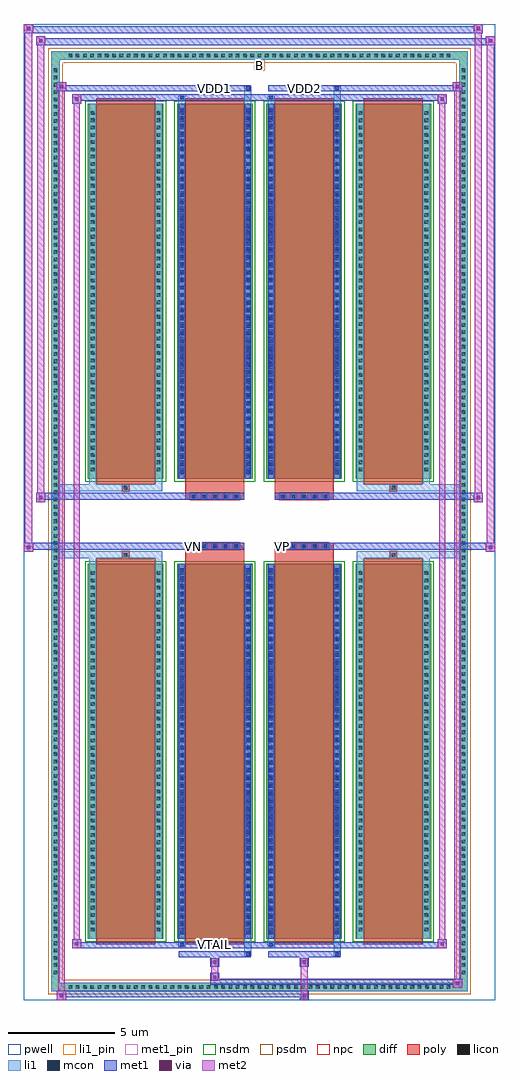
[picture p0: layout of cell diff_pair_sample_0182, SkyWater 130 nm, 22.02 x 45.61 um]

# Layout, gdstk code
import gdstk
lib = gdstk.Library(unit=1e-6, precision=5e-09)
def R(c, l, rs):  # rectangles x0, y0, x1, y1
    for r in rs: c.add(gdstk.rectangle(r[:2], r[2:], *l))
def A(c, l, x, y, w, h, nx, ny, dx, dy):  # array of equal rectangles
    R(c, l, [(x+i*dx, y+j*dy, x+i*dx+w, y+j*dy+h) for i in range(nx) for j in range(ny)])
def P(c, l, *ps):  # polygons
    for p in ps: c.add(gdstk.Polygon(p, *l))
pwell = (64, 44)
diff = (65, 20)
poly = (66, 20)
licon = (66, 44)
li1_pin = (67, 16)
li1 = (67, 20)
mcon = (67, 44)
met1_pin = (68, 16)
met1 = (68, 20)
via = (68, 44)
met2 = (69, 20)
nsdm = (93, 44)
psdm = (94, 20)
npc = (95, 20)

diff_pair_sample_0182 = lib.new_cell('diff_pair_sample_0182')
R(diff_pair_sample_0182, pwell, [(-11.01,-22.37,11.01,23.24), (-8.33,-20.56,-0.01,-0.8), (0.01,-20.56,8.33,-0.8), (-8.33,0.8,-0.01,20.56), (0.01,0.8,8.33,20.56)])
A(diff_pair_sample_0182, diff, -9.045, -21.97, 0.41, 0.41, 53, 2, 0.34, 43.53)
A(diff_pair_sample_0182, diff, -9.74, -21.285, 0.41, 0.41, 1, 125, 0, 0.34)
A(diff_pair_sample_0182, diff, 9.33, -21.285, 0.41, 0.41, 1, 125, 0, 0.34)
A(diff_pair_sample_0182, diff, -8.02, -19.515, 3.53, 17.53, 4, 2, 4.17, 21.5)
R(diff_pair_sample_0182, diff, [(-9.045,-21.97,9.045,-21.56), (-9.74,-21.285,-9.33,21.285), (9.33,-21.285,9.74,21.285), (-9.045,21.56,9.045,21.97)])
P(diff_pair_sample_0182, diff, [(9.74,21.97),(-9.74,21.97),(-9.74,-21.56),(-9.33,-21.56),(-9.33,21.56),(9.33,21.56),(9.33,-21.56),(-9.33,-21.56),(-9.74,-21.56),(-9.74,-21.97),(9.74,-21.97)])
A(diff_pair_sample_0182, poly, -7.63, -19.765, 2.75, 18.03, 4, 2, 4.17, 21.5)
A(diff_pair_sample_0182, poly, -3.25, -1.33, 0.33, 0.33, 5, 2, 0.5, 2.33)
A(diff_pair_sample_0182, poly, 0.92, -1.33, 0.33, 0.33, 5, 2, 0.5, 2.33)
R(diff_pair_sample_0182, poly, [(-6.42,-1.735,-6.09,-1.405), (-6.42,-1.735,-6.09,-1.405), (-3.46,-1.735,-0.71,-1.33), (0.71,-1.735,3.46,-1.33), (6.09,-1.735,6.42,-1.405), (6.09,-1.735,6.42,-1.405), (-3.46,-1.33,-0.71,-1), (0.71,-1.33,3.46,-1), (-3.46,1,-0.71,1.33), (0.71,1,3.46,1.33), (-3.46,1.33,-0.71,1.735), (0.71,1.33,3.46,1.735), (-6.42,1.405,-6.09,1.735), (-6.42,1.405,-6.09,1.735), (6.09,1.405,6.42,1.735), (6.09,1.405,6.42,1.735)])
A(diff_pair_sample_0182, licon, -8.925, -21.85, 0.17, 0.17, 53, 2, 0.34, 43.53)
A(diff_pair_sample_0182, licon, -9.62, -21.165, 0.17, 0.17, 1, 125, 0, 0.34)
A(diff_pair_sample_0182, licon, 9.45, -21.165, 0.17, 0.17, 1, 125, 0, 0.34)
A(diff_pair_sample_0182, licon, -7.88, -19.165, 0.17, 0.17, 1, 50, 0, 0.34)
A(diff_pair_sample_0182, licon, -4.8, -19.165, 0.17, 0.17, 1, 50, 0, 0.34)
A(diff_pair_sample_0182, licon, -3.71, -19.165, 0.17, 0.17, 1, 50, 0, 0.34)
A(diff_pair_sample_0182, licon, -0.63, -19.165, 0.17, 0.17, 1, 50, 0, 0.34)
A(diff_pair_sample_0182, licon, 0.46, -19.165, 0.17, 0.17, 1, 50, 0, 0.34)
A(diff_pair_sample_0182, licon, 3.54, -19.165, 0.17, 0.17, 1, 50, 0, 0.34)
A(diff_pair_sample_0182, licon, 4.63, -19.165, 0.17, 0.17, 1, 50, 0, 0.34)
A(diff_pair_sample_0182, licon, 7.71, -19.165, 0.17, 0.17, 1, 50, 0, 0.34)
A(diff_pair_sample_0182, licon, -3.17, -1.25, 0.17, 0.17, 5, 2, 0.5, 2.33)
A(diff_pair_sample_0182, licon, 1, -1.25, 0.17, 0.17, 5, 2, 0.5, 2.33)
A(diff_pair_sample_0182, licon, -7.88, 2.335, 0.17, 0.17, 1, 50, 0, 0.34)
A(diff_pair_sample_0182, licon, -4.8, 2.335, 0.17, 0.17, 1, 50, 0, 0.34)
A(diff_pair_sample_0182, licon, -3.71, 2.335, 0.17, 0.17, 1, 50, 0, 0.34)
A(diff_pair_sample_0182, licon, -0.63, 2.335, 0.17, 0.17, 1, 50, 0, 0.34)
A(diff_pair_sample_0182, licon, 0.46, 2.335, 0.17, 0.17, 1, 50, 0, 0.34)
A(diff_pair_sample_0182, licon, 3.54, 2.335, 0.17, 0.17, 1, 50, 0, 0.34)
A(diff_pair_sample_0182, licon, 4.63, 2.335, 0.17, 0.17, 1, 50, 0, 0.34)
A(diff_pair_sample_0182, licon, 7.71, 2.335, 0.17, 0.17, 1, 50, 0, 0.34)
R(diff_pair_sample_0182, licon, [(-6.34,-1.655,-6.17,-1.485), (6.17,-1.655,6.34,-1.485), (-6.34,1.485,-6.17,1.655), (6.17,1.485,6.34,1.655)])
R(diff_pair_sample_0182, li1_pin, [(-0.25,21.06,0.25,21.56)])
A(diff_pair_sample_0182, li1, -9.005, -21.93, 0.33, 0.33, 53, 2, 0.34, 43.53)
A(diff_pair_sample_0182, li1, -9.7, -21.245, 0.33, 0.33, 1, 125, 0, 0.34)
A(diff_pair_sample_0182, li1, 9.37, -21.245, 0.33, 0.33, 1, 125, 0, 0.34)
A(diff_pair_sample_0182, li1, -3.71, -19.295, 0.17, 0.17, 1, 48, 0, 0.36)
A(diff_pair_sample_0182, li1, -0.63, -19.295, 0.17, 0.17, 1, 48, 0, 0.36)
A(diff_pair_sample_0182, li1, 0.46, -19.295, 0.17, 0.17, 1, 48, 0, 0.36)
A(diff_pair_sample_0182, li1, 3.54, -19.295, 0.17, 0.17, 1, 48, 0, 0.36)
A(diff_pair_sample_0182, li1, -7.96, -19.245, 0.33, 0.33, 1, 50, 0, 0.34)
A(diff_pair_sample_0182, li1, -4.88, -19.245, 0.33, 0.33, 1, 50, 0, 0.34)
A(diff_pair_sample_0182, li1, -3.79, -19.245, 0.33, 0.33, 1, 50, 0, 0.34)
A(diff_pair_sample_0182, li1, -0.71, -19.245, 0.33, 0.33, 1, 50, 0, 0.34)
A(diff_pair_sample_0182, li1, 0.38, -19.245, 0.33, 0.33, 1, 50, 0, 0.34)
A(diff_pair_sample_0182, li1, 3.46, -19.245, 0.33, 0.33, 1, 50, 0, 0.34)
A(diff_pair_sample_0182, li1, 4.55, -19.245, 0.33, 0.33, 1, 50, 0, 0.34)
A(diff_pair_sample_0182, li1, 7.63, -19.245, 0.33, 0.33, 1, 50, 0, 0.34)
A(diff_pair_sample_0182, li1, -3.25, -1.33, 0.33, 0.33, 5, 2, 0.5, 2.33)
A(diff_pair_sample_0182, li1, 0.92, -1.33, 0.33, 0.33, 5, 2, 0.5, 2.33)
A(diff_pair_sample_0182, li1, -3.71, 2.205, 0.17, 0.17, 1, 48, 0, 0.36)
A(diff_pair_sample_0182, li1, -0.63, 2.205, 0.17, 0.17, 1, 48, 0, 0.36)
A(diff_pair_sample_0182, li1, 0.46, 2.205, 0.17, 0.17, 1, 48, 0, 0.36)
A(diff_pair_sample_0182, li1, 3.54, 2.205, 0.17, 0.17, 1, 48, 0, 0.36)
A(diff_pair_sample_0182, li1, -7.96, 2.255, 0.33, 0.33, 1, 50, 0, 0.34)
A(diff_pair_sample_0182, li1, -4.88, 2.255, 0.33, 0.33, 1, 50, 0, 0.34)
A(diff_pair_sample_0182, li1, -3.79, 2.255, 0.33, 0.33, 1, 50, 0, 0.34)
A(diff_pair_sample_0182, li1, -0.71, 2.255, 0.33, 0.33, 1, 50, 0, 0.34)
A(diff_pair_sample_0182, li1, 0.38, 2.255, 0.33, 0.33, 1, 50, 0, 0.34)
A(diff_pair_sample_0182, li1, 3.46, 2.255, 0.33, 0.33, 1, 50, 0, 0.34)
A(diff_pair_sample_0182, li1, 4.55, 2.255, 0.33, 0.33, 1, 50, 0, 0.34)
A(diff_pair_sample_0182, li1, 7.63, 2.255, 0.33, 0.33, 1, 50, 0, 0.34)
R(diff_pair_sample_0182, li1, [(-9.74,-21.97,-9.33,-21.56), (-9.74,-21.97,-9.33,-21.56), (-9.33,-21.97,9.33,-21.56), (9.33,-21.97,9.74,-21.56), (9.33,-21.97,9.74,-21.56), (-9.74,-21.56,-9.33,21.56), (9.33,-21.56,9.74,21.56), (-0.71,-20.32,-0.38,-19.515), (-0.63,-20.32,-0.46,-20.15), (3.46,-20.32,3.79,-19.515), (3.54,-20.32,3.71,-20.15), (-3.79,-19.89,-3.46,-19.515), (-3.71,-19.89,-3.54,-19.72), (0.38,-19.89,0.71,-19.515), (0.46,-19.89,0.63,-19.72), (-7.96,-19.515,-7.63,-1.985), (-4.88,-19.515,-4.55,-1.985), (-3.79,-19.515,-3.46,-1.985), (-0.71,-19.515,-0.38,-1.985), (0.38,-19.515,0.71,-1.985), (3.46,-19.515,3.79,-1.985), (4.55,-19.515,4.88,-1.985), (7.63,-19.515,7.96,-1.985), (-3.71,-19.295,-3.54,-2.205), (-0.63,-19.295,-0.46,-2.205), (0.46,-19.295,0.63,-2.205), (3.54,-19.295,3.71,-2.205), (-7.96,-1.985,-7.63,-1.405), (-4.88,-1.985,-4.55,-1.405), (4.55,-1.985,4.88,-1.405), (7.63,-1.985,7.96,-1.405), (-9.74,-1.735,-6.42,-1.405), (-7.96,-1.735,-6.42,-1.405), (-6.42,-1.735,-6.09,-1.405), (-6.09,-1.735,-4.55,-1.405), (4.55,-1.735,6.09,-1.405), (6.09,-1.735,6.42,-1.405), (6.09,-1.735,9.74,-1.405), (6.42,-1.735,7.96,-1.405), (-9.74,1.405,-6.42,1.735), (-7.96,1.405,-6.42,1.735), (-7.96,1.405,-7.63,1.985), (-6.42,1.405,-6.09,1.735), (-6.09,1.405,-4.55,1.735), (-4.88,1.405,-4.55,1.985), (4.55,1.405,6.09,1.735), (4.55,1.405,4.88,1.985), (6.09,1.405,6.42,1.735), (6.09,1.405,9.74,1.735), (6.42,1.405,7.96,1.735), (7.63,1.405,7.96,1.985), (-7.96,1.985,-7.63,19.515), (-4.88,1.985,-4.55,19.515), (-3.79,1.985,-3.46,19.515), (-0.71,1.985,-0.38,19.515), (0.38,1.985,0.71,19.515), (3.46,1.985,3.79,19.515), (4.55,1.985,4.88,19.515), (7.63,1.985,7.96,19.515), (-3.71,2.205,-3.54,19.295), (-0.63,2.205,-0.46,19.295), (0.46,2.205,0.63,19.295), (3.54,2.205,3.71,19.295), (-3.79,19.515,-3.46,19.89), (-0.71,19.515,-0.38,20.32), (0.38,19.515,0.71,19.89), (3.46,19.515,3.79,20.32), (-3.71,19.72,-3.54,19.89), (0.46,19.72,0.63,19.89), (-0.63,20.15,-0.46,20.32), (3.54,20.15,3.71,20.32), (-9.74,21.56,-9.33,21.97), (-9.74,21.56,-9.33,21.97), (-9.33,21.56,9.33,21.97), (9.33,21.56,9.74,21.97), (9.33,21.56,9.74,21.97)])
A(diff_pair_sample_0182, mcon, -3.71, -19.295, 0.17, 0.17, 1, 48, 0, 0.36)
A(diff_pair_sample_0182, mcon, -0.63, -19.295, 0.17, 0.17, 1, 48, 0, 0.36)
A(diff_pair_sample_0182, mcon, 0.46, -19.295, 0.17, 0.17, 1, 48, 0, 0.36)
A(diff_pair_sample_0182, mcon, 3.54, -19.295, 0.17, 0.17, 1, 48, 0, 0.36)
A(diff_pair_sample_0182, mcon, -3.17, -1.25, 0.17, 0.17, 5, 2, 0.5, 2.33)
A(diff_pair_sample_0182, mcon, 1, -1.25, 0.17, 0.17, 5, 2, 0.5, 2.33)
A(diff_pair_sample_0182, mcon, -3.71, 2.205, 0.17, 0.17, 1, 48, 0, 0.36)
A(diff_pair_sample_0182, mcon, -0.63, 2.205, 0.17, 0.17, 1, 48, 0, 0.36)
A(diff_pair_sample_0182, mcon, 0.46, 2.205, 0.17, 0.17, 1, 48, 0, 0.36)
A(diff_pair_sample_0182, mcon, 3.54, 2.205, 0.17, 0.17, 1, 48, 0, 0.36)
R(diff_pair_sample_0182, mcon, [(-0.63,-20.32,-0.46,-20.15), (3.54,-20.32,3.71,-20.15), (-3.71,-19.89,-3.54,-19.72), (0.46,-19.89,0.63,-19.72), (-3.71,19.72,-3.54,19.89), (0.46,19.72,0.63,19.89), (-0.63,20.15,-0.46,20.32), (3.54,20.15,3.71,20.32)])
R(diff_pair_sample_0182, met1_pin, [(-2.22,-19.93,-1.95,-19.66), (-3.22,-1.29,-2.95,-1.02), (0.95,-1.29,1.22,-1.02), (-2.22,20.11,-1.95,20.38), (1.95,20.11,2.22,20.38)])
A(diff_pair_sample_0182, met1, -3.77, -19.355, 0.29, 0.29, 1, 48, 0, 0.36)
A(diff_pair_sample_0182, met1, -0.69, -19.355, 0.29, 0.29, 1, 48, 0, 0.36)
A(diff_pair_sample_0182, met1, 0.4, -19.355, 0.29, 0.29, 1, 48, 0, 0.36)
A(diff_pair_sample_0182, met1, 3.48, -19.355, 0.29, 0.29, 1, 48, 0, 0.36)
A(diff_pair_sample_0182, met1, -3.23, -1.31, 0.29, 0.29, 5, 2, 0.5, 2.33)
A(diff_pair_sample_0182, met1, 0.94, -1.31, 0.29, 0.29, 5, 2, 0.5, 2.33)
A(diff_pair_sample_0182, met1, -3.77, 2.145, 0.29, 0.29, 1, 48, 0, 0.36)
A(diff_pair_sample_0182, met1, -0.69, 2.145, 0.29, 0.29, 1, 48, 0, 0.36)
A(diff_pair_sample_0182, met1, 0.4, 2.145, 0.29, 0.29, 1, 48, 0, 0.36)
A(diff_pair_sample_0182, met1, 3.48, 2.145, 0.29, 0.29, 1, 48, 0, 0.36)
R(diff_pair_sample_0182, met1, [(-9.47,-22.37,-9.04,-21.94), (1.87,-22.37,2.3,-21.94), (-9.47,-22.23,2.3,-21.94), (9.04,-21.8,9.47,-21.37), (-2.3,-21.66,9.47,-21.37), (-2.3,-21.52,-1.87,-21.09), (-2.3,-20.81,-1.87,-20.38), (1.87,-20.81,2.3,-20.38), (-3.77,-20.38,-0.4,-20.09), (-0.69,-20.38,-0.4,-20.09), (0.4,-20.38,3.77,-20.09), (3.48,-20.38,3.77,-20.09), (-8.76,-19.95,-8.33,-19.52), (-8.76,-19.95,-3.77,-19.66), (-3.77,-19.95,-3.48,-19.66), (-3.77,-19.95,-0.4,-19.66), (-0.4,-19.95,0.4,-19.66), (0.4,-19.95,0.69,-19.66), (0.4,-19.95,3.77,-19.66), (3.77,-19.95,8.76,-19.66), (8.33,-19.95,8.76,-19.52), (-3.77,-19.515,-3.48,-1.985), (-0.69,-19.515,-0.4,-1.985), (0.4,-19.515,0.69,-1.985), (3.48,-19.515,3.77,-1.985), (-11.01,-1.43,-10.58,-1), (10.58,-1.43,11.01,-1), (-11.01,-1.33,-0.71,-1), (-3.46,-1.33,-0.71,-1), (0.71,-1.33,3.46,-1), (0.71,-1.33,11.01,-1), (-10.44,0.9,-10.01,1.33), (10.01,0.9,10.44,1.33), (-10.44,1,-3.46,1.33), (-3.46,1,-0.71,1.33), (0.71,1,3.46,1.33), (3.46,1,10.44,1.33), (-3.77,1.985,-3.48,19.515), (-0.69,1.985,-0.4,19.515), (0.4,1.985,0.69,19.515), (3.48,1.985,3.77,19.515), (-8.76,19.52,-8.33,19.95), (8.33,19.52,8.76,19.95), (-8.76,19.66,-3.77,19.95), (-3.77,19.66,-3.48,19.95), (-3.77,19.66,-0.4,19.95), (-0.4,19.66,0.4,19.95), (0.4,19.66,0.69,19.95), (0.4,19.66,3.77,19.95), (3.77,19.66,8.76,19.95), (-9.47,20.09,-9.04,20.52), (-9.47,20.09,-3.77,20.38), (-3.77,20.09,-0.4,20.38), (-0.69,20.09,-0.4,20.38), (0.4,20.09,3.77,20.38), (3.48,20.09,3.77,20.38), (3.77,20.09,9.47,20.38), (9.04,20.09,9.47,20.52), (-10.44,22.24,-10.01,22.67), (-10.44,22.24,-8.33,22.57), (-8.33,22.24,8.33,22.57), (8.33,22.24,11.01,22.57), (10.58,22.24,11.01,22.67), (-11.01,22.81,-10.58,23.24), (-11.01,22.81,-8.33,23.14), (-8.33,22.81,8.33,23.14), (8.33,22.81,10.44,23.14), (10.01,22.81,10.44,23.24)])
R(diff_pair_sample_0182, via, [(-9.33,-22.23,-9.18,-22.08), (2.01,-22.23,2.16,-22.08), (9.18,-21.66,9.33,-21.51), (-2.16,-21.38,-2.01,-21.23), (-2.16,-20.67,-2.01,-20.52), (2.01,-20.67,2.16,-20.52), (-8.62,-19.81,-8.47,-19.66), (8.47,-19.81,8.62,-19.66), (-10.87,-1.29,-10.72,-1.14), (10.72,-1.29,10.87,-1.14), (-10.3,1.04,-10.15,1.19), (10.15,1.04,10.3,1.19), (-8.62,19.66,-8.47,19.81), (8.47,19.66,8.62,19.81), (-9.33,20.23,-9.18,20.38), (9.18,20.23,9.33,20.38), (-10.3,22.38,-10.15,22.53), (10.72,22.38,10.87,22.53), (-10.87,22.95,-10.72,23.1), (10.15,22.95,10.3,23.1)])
R(diff_pair_sample_0182, met2, [(-9.47,-22.37,-9.04,-21.94), (-9.4,-22.37,-9.11,20.52), (-9.11,-22.37,-9.04,-21.94), (-9.42,-22.32,-9.09,-21.99), (1.92,-22.32,2.25,-21.99), (1.92,-21.99,2.25,-20.76), (9.04,-21.8,9.47,-21.37), (9.11,-21.8,9.4,20.52), (9.4,-21.8,9.47,-21.37), (9.09,-21.75,9.42,-21.42), (-2.25,-21.47,-1.92,-21.14), (-2.25,-21.14,-1.92,-20.76), (-2.25,-20.76,-1.92,-20.43), (1.92,-20.76,2.25,-20.43), (-8.76,-19.95,-8.33,-19.52), (-8.69,-19.95,-8.4,19.95), (-8.4,-19.95,-8.33,-19.52), (8.33,-19.95,8.76,-19.52), (8.4,-19.95,8.69,19.95), (8.69,-19.95,8.76,-19.52), (-8.71,-19.9,-8.38,-19.57), (8.38,-19.9,8.71,-19.57), (-11.01,-1.43,-10.58,-1), (-10.96,-1.43,-10.63,23.24), (-10.63,-1.43,-10.58,-1), (10.58,-1.43,11.01,-1), (10.63,-1.43,10.96,22.67), (10.96,-1.43,11.01,-1), (-10.96,-1.38,-10.63,-1.05), (10.63,-1.38,10.96,-1.05), (-10.44,0.9,-10.01,1.33), (-10.39,0.9,-10.06,22.67), (-10.06,0.9,-10.01,1.33), (10.01,0.9,10.44,1.33), (10.06,0.9,10.39,23.24), (10.39,0.9,10.44,1.33), (-10.39,0.95,-10.06,1.28), (10.06,0.95,10.39,1.28), (-8.76,19.52,-8.33,19.95), (-8.4,19.52,-8.33,19.95), (8.33,19.52,8.76,19.95), (8.69,19.52,8.76,19.95), (-8.71,19.57,-8.38,19.9), (8.38,19.57,8.71,19.9), (-9.47,20.09,-9.04,20.52), (-9.11,20.09,-9.04,20.52), (9.04,20.09,9.47,20.52), (9.4,20.09,9.47,20.52), (-9.42,20.14,-9.09,20.47), (9.09,20.14,9.42,20.47), (-10.44,22.24,-10.01,22.67), (-10.06,22.24,-10.01,22.67), (10.58,22.24,11.01,22.67), (10.96,22.24,11.01,22.67), (-10.39,22.29,-10.06,22.62), (10.63,22.29,10.96,22.62), (-11.01,22.81,-10.58,23.24), (-10.63,22.81,-10.58,23.24), (10.01,22.81,10.44,23.24), (10.39,22.81,10.44,23.24), (-10.96,22.86,-10.63,23.19), (10.06,22.86,10.39,23.19)])
A(diff_pair_sample_0182, nsdm, -8.15, -19.645, 3.79, 17.79, 4, 2, 4.17, 21.5)
P(diff_pair_sample_0182, psdm, [(9.87,22.1),(-9.87,22.1),(-9.87,-21.43),(-9.2,-21.43),(-9.2,21.43),(9.2,21.43),(9.2,-21.43),(-9.2,-21.43),(-9.87,-21.43),(-9.87,-22.1),(9.87,-22.1)])
A(diff_pair_sample_0182, npc, -3.27, -1.35, 0.37, 0.37, 5, 2, 0.5, 2.33)
A(diff_pair_sample_0182, npc, 0.9, -1.35, 0.37, 0.37, 5, 2, 0.5, 2.33)
R(diff_pair_sample_0182, npc, [(-6.44,-1.755,-6.07,-1.385), (6.07,-1.755,6.44,-1.385), (-3.27,-1.35,-2.4,-0.98), (-3.27,-1.35,-2.4,-0.98), (-2.77,-1.35,-1.9,-0.98), (-2.77,-1.35,-1.9,-0.98), (-2.27,-1.35,-1.4,-0.98), (-2.27,-1.35,-1.4,-0.98), (-1.77,-1.35,-0.9,-0.98), (-1.77,-1.35,-0.9,-0.98), (0.9,-1.35,1.77,-0.98), (0.9,-1.35,1.77,-0.98), (1.4,-1.35,2.27,-0.98), (1.4,-1.35,2.27,-0.98), (1.9,-1.35,2.77,-0.98), (1.9,-1.35,2.77,-0.98), (2.4,-1.35,3.27,-0.98), (2.4,-1.35,3.27,-0.98), (-3.27,0.98,-2.4,1.35), (-3.27,0.98,-2.4,1.35), (-2.77,0.98,-1.9,1.35), (-2.77,0.98,-1.9,1.35), (-2.27,0.98,-1.4,1.35), (-2.27,0.98,-1.4,1.35), (-1.77,0.98,-0.9,1.35), (-1.77,0.98,-0.9,1.35), (0.9,0.98,1.77,1.35), (0.9,0.98,1.77,1.35), (1.4,0.98,2.27,1.35), (1.4,0.98,2.27,1.35), (1.9,0.98,2.77,1.35), (1.9,0.98,2.77,1.35), (2.4,0.98,3.27,1.35), (2.4,0.98,3.27,1.35), (-6.44,1.385,-6.07,1.755), (6.07,1.385,6.44,1.755)])
diff_pair_sample_0182.add(gdstk.Label('VTAIL', (-2.085,-19.795), layer=68, texttype=5))
diff_pair_sample_0182.add(gdstk.Label('VN', (-3.085,-1.155), layer=68, texttype=5))
diff_pair_sample_0182.add(gdstk.Label('VP', (1.085,-1.155), layer=68, texttype=5))
diff_pair_sample_0182.add(gdstk.Label('B', (0,21.31), layer=67, texttype=5))
diff_pair_sample_0182.add(gdstk.Label('VDD2', (2.085,20.245), layer=68, texttype=5))
diff_pair_sample_0182.add(gdstk.Label('VDD1', (-2.085,20.245), layer=68, texttype=5))

lib.write_gds('diff_pair_sample_0182.gds')
